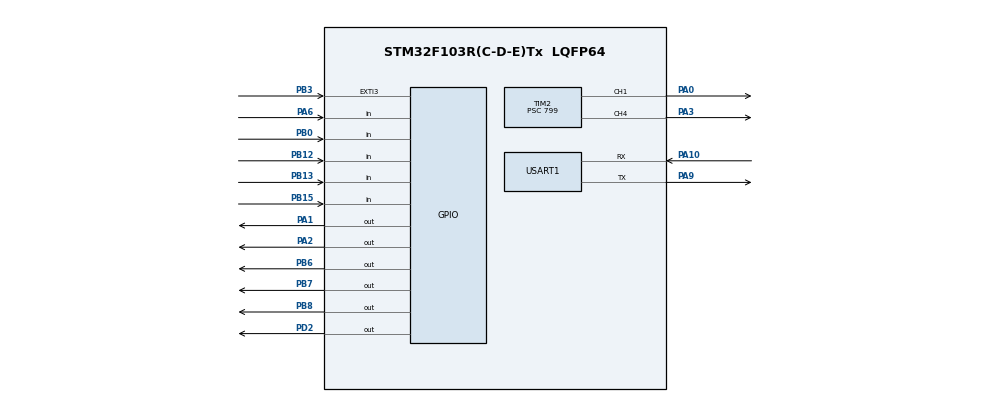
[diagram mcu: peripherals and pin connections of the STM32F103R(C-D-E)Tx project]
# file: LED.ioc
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Mcu.Family=STM32F1
Mcu.Name=STM32F103R(C-D-E)Tx
Mcu.Package=LQFP64
NVIC.EXTI3_IRQn=true\:0\:0\:false\:false\:true\:true\:true\:true
NVIC.PriorityGroup=NVIC_PRIORITYGROUP_4
NVIC.TIM6_IRQn=true\:0\:0\:false\:false\:true\:true\:true\:true
NVIC.TIM7_IRQn=true\:0\:0\:false\:false\:true\:true\:true\:true
PA0-WKUP.Signal=S_TIM2_CH1_ETR
PA1.Signal=GPIO_Output
PA10.Mode=Asynchronous
PA10.Signal=USART1_RX
PA2.Signal=GPIO_Output
PA3.Signal=S_TIM2_CH4
PA6.Signal=GPIO_Input
PA9.Mode=Asynchronous
PA9.Signal=USART1_TX
PB0.Signal=GPIO_Input
PB12.Signal=GPIO_Input
PB13.Signal=GPIO_Input
PB15.Signal=GPIO_Input
PB3.GPIO_ModeDefaultEXTI=GPIO_MODE_IT_RISING_FALLING
PB3.Signal=GPXTI3
PB6.Signal=GPIO_Output
PB7.Signal=GPIO_Output
PB8.Signal=GPIO_Output
PD2.Signal=GPIO_Output
ProjectManager.HeapSize=0x200
ProjectManager.StackSize=0x400
ProjectManager.TargetToolchain=MDK-ARM V5
RCC.APB1Freq_Value=8000000
RCC.APB2Freq_Value=8000000
SH.S_TIM2_CH1_ETR.0=TIM2_CH1,PWM Generation1 CH1
SH.S_TIM2_CH4.0=TIM2_CH4,PWM Generation4 CH4
TIM2.AutoReloadPreload=TIM_AUTORELOAD_PRELOAD_ENABLE
TIM2.Channel-PWM\ Generation1\ CH1=TIM_CHANNEL_1
TIM2.Channel-PWM\ Generation4\ CH4=TIM_CHANNEL_4
TIM2.Period=1000
TIM2.Prescaler=799
TIM2.Pulse-PWM\ Generation1\ CH1=100
TIM2.Pulse-PWM\ Generation4\ CH4=100
TIM6.AutoReloadPreload=TIM_AUTORELOAD_PRELOAD_ENABLE
TIM6.Period=10000
TIM6.Prescaler=799
TIM6.TIM_MasterOutputTrigger=TIM_TRGO_UPDATE
TIM7.AutoReloadPreload=TIM_AUTORELOAD_PRELOAD_ENABLE
TIM7.Period=20
TIM7.Prescaler=7
TIM7.TIM_MasterOutputTrigger=TIM_TRGO_UPDATE
USART1.VirtualMode=VM_ASYNC
VP_SYS_VS_ND.Mode=No_Debug
VP_TIM6_VS_ClockSourceINT.Mode=Enable_Timer
VP_TIM7_VS_ClockSourceINT.Mode=Enable_Timer
board=custom

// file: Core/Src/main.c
/* USER CODE BEGIN Header */
/**
  ******************************************************************************
  * @file           : main.c
  * @brief          : Main program body
  ******************************************************************************
  * @attention
  *
  * Copyright (c) 2024 STMicroelectronics.
  * All rights reserved.
  *
  * This software is licensed under terms that can be found in the LICENSE file
  * in the root directory of this software component.
  * If no LICENSE file comes with this software, it is provided AS-IS.
  *
  ******************************************************************************
  */
/* USER CODE END Header */
#include "main.h"
#include "tim.h"
#include "usart.h"
#include "gpio.h"

/* USER CODE BEGIN Includes */
#include<stdio.h>
#include<string.h>
#define RED_LED_GPIO GPIOB
#define RED_LED_PIN GPIO_PIN_8
#define BLUE_LED_GPIO GPIOB
#define BLUE_LED_PIN GPIO_PIN_7
#define GREEN_LED_GPIO GPIOB
#define GREEN_LED_PIN GPIO_PIN_6
#define R1_PIN GPIOA_PIN_6
#define R2_PIN GPIOB_PIN_0
#define L1_PIN GPIOB_PIN_12
#define L2_PIN GPIOB_PIN_15
#define M_PIN GPIOB_PIN_13
#define Beep_GPIO GPIOA
#define Beep_PIN GPIO_PIN_12

#define TRIG_GPIO GPIOD
#define TRIG_PIN GPIO_PIN_2 //trig??????
#define ECHO_GPIO GPIOB
#define ECHO_PIN GPIO_PIN_3 //echo??????

/* USER CODE END Includes */

/* USER CODE BEGIN PD */
int fputc(int ch, FILE *f)
{
  HAL_UART_Transmit(&huart1, (uint8_t *)&ch, 1, 0xffff);
  return ch;
}

int countl = 0;
int count2 =0;
int distance=0;
/* USER CODE END PD */

/* USER CODE BEGIN PM */
void ctrl_led(GPIO_PinState PinState)
{
    HAL_GPIO_WritePin(RED_LED_GPIO,RED_LED_PIN,PinState);
    HAL_GPIO_WritePin(BLUE_LED_GPIO,BLUE_LED_PIN,PinState);
    HAL_GPIO_WritePin(GREEN_LED_GPIO,GREEN_LED_PIN,PinState);

}
void HAL_TIM_PeriodElapsedCallback(TIM_HandleTypeDef*htim)
{
    if(htim==&htim6)
        {
              //如果是定时器6定时时间到了，开启超声波
            //给超声波发送起始信号
            //4拉高tirg引脚
            //5以中断打开tim7
					HAL_GPIO_WritePin(TRIG_GPIO,TRIG_PIN,GPIO_PIN_SET);
          HAL_TIM_Base_Start_IT(&htim7);

        }
        if(htim==&htim7)   //是否定时器7定时时间到了
        {
              //关闭tim7
                //拉低tirg引脚
					HAL_TIM_Base_Stop_IT(&htim7);
         HAL_GPIO_WritePin(TRIG_GPIO,TRIG_PIN,GPIO_PIN_RESET);
        }
}

void HAL_GPIO_EXTI_Callback(uint16_t GPIO_PIN)
{
    if(GPIO_PIN==ECHO_PIN)//9判断是否是ECHO_PIN引发的
        {
                //10判断是否是上升沿触发的
            if(1==HAL_GPIO_ReadPin(ECHO_GPIO,ECHO_PIN))//读echo引脚此时是否为高电平
            {
                 countl=__HAL_TIM_GET_COUNTER(&htim6);//用一个变量：保存此时的tim6计数寄存器的值
            }
            else//12此时为下降沿触发
            {
                //13用另外一个变量（count2):保存此时tim6计数寄存器的值
              count2=__HAL_TIM_GET_COUNTER(&htim6);
							//14用一个变量保存distance计算出来的距离前方障碍物的距离
              distance=(count2-countl)*17/10;
							printf("距离为：%d\n",distance);
            }
					}
}
void Beep()
{
	HAL_GPIO_WritePin(Beep_GPIO,Beep_PIN,GPIO_PIN_SET);
	HAL_Delay(10);
	HAL_GPIO_WritePin(Beep_GPIO,Beep_PIN,GPIO_PIN_RESET);
}

/* USER CODE END PM */

void SystemClock_Config(void);

int main(void)
{

  /* MCU Configuration--------------------------------------------------------*/

  /* Reset of all peripherals, Initializes the Flash interface and the Systick. */
  HAL_Init();

  /* Configure the system clock */
  SystemClock_Config();

  /* Initialize all configured peripherals */
  MX_GPIO_Init();
  MX_TIM6_Init();
  MX_USART1_UART_Init();
  MX_TIM7_Init();
  MX_TIM2_Init();
  /* USER CODE BEGIN 2 */

//	 char m[5];
//	 int l1;
//	 int l2;
//	 int r1;
//	 int r2;
//	 int mid;

	//打开定时器6
 HAL_TIM_Base_Start_IT(&htim6);  //打开定时器6
  /* USER CODE END 2 */

  /* Infinite loop */
  /* USER CODE BEGIN WHILE */
  	  ctrl_led(GPIO_PIN_SET);
  while (1)
  {

    /* USER CODE END WHILE */

    /* USER CODE BEGIN 3 */
//    ctrl_led(GPIO_PIN_SET);
//		HAL_Delay(1000);
//		ctrl_led(GPIO_PIN_RESET);
//		HAL_Delay(1000);
//

//	  HAL_UART_Receive(&huart1,m,5,0xFFFFFFFF);
//	  int i=strncmp(m,"ledon",5);
//	  int h=strncmp(m,"ledof",5);
//	  if(0==i)
//	  {
//			ctrl_led(GPIO_PIN_RESET);
//		    HAL_UART_Transmit(&huart1,m,5,0xFFFFFFFF);
//	  }
//	   if(0==h)
//	  {
//			ctrl_led(GPIO_PIN_SET);
//		    HAL_UART_Transmit(&huart1,m,5,0xFFFFFFFF);
//	  }

/*
	  l1 = HAL_GPIO_ReadPin(GPIOB,GPIO_PIN_12);
	  l2 = HAL_GPIO_ReadPin(GPIOB,GPIO_PIN_15);
	  r1 = HAL_GPIO_ReadPin(GPIOA,GPIO_PIN_6);
	  r2 = HAL_GPIO_ReadPin(GPIOB,GPIO_PIN_0);
	  mid = HAL_GPIO_ReadPin(GPIOB,GPIO_PIN_13);
	  if (1 == mid)
	  {
		printf("直行\n");//直行
		Beep();
	  }
	  else
	  {

	  }
		if(1 == r1)
	  {
		printf("急右转\n");//急右转
		Beep();
	  }
	   else
	  {

	  }
	  if(1 == r2)
	  {
		printf("缓右转\n");//缓右转
		Beep();
	  }
	   else
	  {

	  }
	  if(1 == l1)
	  {
		printf("急左转\n");//急左转
		Beep();
	  }
	   else
	  {

	  }
	  if(1 == l2)
	  {
		printf("缓左转\n");//缓左转
		Beep();
	  }
	   else
	  {

	  }

*/

//	  HAL_UART_Transmit(&huart1,m,5,0xFFFFFFFF);

  }
  /* USER CODE END 3 */
}

void SystemClock_Config(void)
{
  RCC_OscInitTypeDef RCC_OscInitStruct = {0};
  RCC_ClkInitTypeDef RCC_ClkInitStruct = {0};

  /** Initializes the RCC Oscillators according to the specified parameters
  * in the RCC_OscInitTypeDef structure.
  */
  RCC_OscInitStruct.OscillatorType = RCC_OSCILLATORTYPE_HSI;
  RCC_OscInitStruct.HSIState = RCC_HSI_ON;
  RCC_OscInitStruct.HSICalibrationValue = RCC_HSICALIBRATION_DEFAULT;
  RCC_OscInitStruct.PLL.PLLState = RCC_PLL_NONE;
  if (HAL_RCC_OscConfig(&RCC_OscInitStruct) != HAL_OK)
  {
    Error_Handler();
  }

  /** Initializes the CPU, AHB and APB buses clocks
  */
  RCC_ClkInitStruct.ClockType = RCC_CLOCKTYPE_HCLK|RCC_CLOCKTYPE_SYSCLK
                              |RCC_CLOCKTYPE_PCLK1|RCC_CLOCKTYPE_PCLK2;
  RCC_ClkInitStruct.SYSCLKSource = RCC_SYSCLKSOURCE_HSI;
  RCC_ClkInitStruct.AHBCLKDivider = RCC_SYSCLK_DIV1;
  RCC_ClkInitStruct.APB1CLKDivider = RCC_HCLK_DIV1;
  RCC_ClkInitStruct.APB2CLKDivider = RCC_HCLK_DIV1;

  if (HAL_RCC_ClockConfig(&RCC_ClkInitStruct, FLASH_LATENCY_0) != HAL_OK)
  {
    Error_Handler();
  }
}

/* USER CODE BEGIN 4 */

/*
void HAL_TIM_PeriodElapsedCallback (TIM_HandleTypeDef * htim)
{

  if(htim==&htim6)
  {
//		GPIOB->ODR^=GPIO_PIN_6;
//		GPIOB->ODR^=GPIO_PIN_7;
//		GPIOB->ODR^=GPIO_PIN_8;
   }
}
*/

/* USER CODE END 4 */

void Error_Handler(void)
{
  __disable_irq();
  while (1)
  {
  }
}
